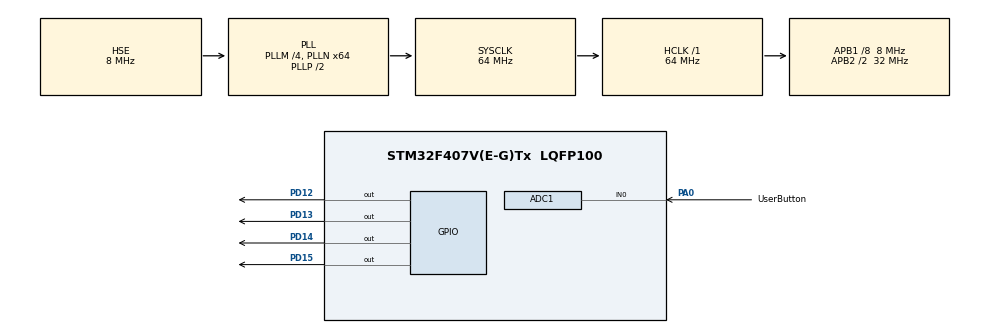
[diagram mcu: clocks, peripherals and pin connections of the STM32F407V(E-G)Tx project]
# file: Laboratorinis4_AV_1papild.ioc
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ADC1.Channel-0\#ChannelRegularConversion=ADC_CHANNEL_0
ADC1.ContinuousConvMode=DISABLE
ADC1.NbrOfConversionFlag=1
ADC1.Rank-0\#ChannelRegularConversion=1
ADC1.SamplingTime-0\#ChannelRegularConversion=ADC_SAMPLETIME_3CYCLES
ADC1.master=1
Mcu.Family=STM32F4
Mcu.Name=STM32F407V(E-G)Tx
Mcu.Package=LQFP100
NVIC.ADC_IRQn=true\:0\:0\:false\:true\:true\:1\:true\:true\:true
NVIC.PriorityGroup=NVIC_PRIORITYGROUP_0
PA0-WKUP.GPIO_Label=UserButton
PA0-WKUP.Signal=ADCx_IN0
PD12.GPIO_ModeDefaultOutputPP=GPIO_MODE_OUTPUT_PP
PD12.GPIO_PuPd=GPIO_NOPULL
PD12.Signal=GPIO_Output
PD13.GPIO_ModeDefaultOutputPP=GPIO_MODE_OUTPUT_PP
PD13.GPIO_PuPd=GPIO_NOPULL
PD13.Signal=GPIO_Output
PD14.GPIO_ModeDefaultOutputPP=GPIO_MODE_OUTPUT_PP
PD14.GPIO_PuPd=GPIO_NOPULL
PD14.Signal=GPIO_Output
PD15.GPIO_ModeDefaultOutputPP=GPIO_MODE_OUTPUT_PP
PD15.GPIO_PuPd=GPIO_NOPULL
PD15.Signal=GPIO_Output
PH0-OSC_IN.Mode=HSE-External-Oscillator
PH0-OSC_IN.Signal=RCC_OSC_IN
PH1-OSC_OUT.Mode=HSE-External-Oscillator
PH1-OSC_OUT.Signal=RCC_OSC_OUT
ProjectManager.HeapSize=0x200
ProjectManager.StackSize=0x400
ProjectManager.TargetToolchain=STM32CubeIDE
RCC.48MHZClocksFreq_Value=18285714.285714287
RCC.AHBFreq_Value=64000000
RCC.APB1CLKDivider=RCC_HCLK_DIV8
RCC.APB1Freq_Value=8000000
RCC.APB1TimFreq_Value=16000000
RCC.APB2CLKDivider=RCC_HCLK_DIV2
RCC.APB2Freq_Value=32000000
RCC.APB2TimFreq_Value=64000000
RCC.CortexFreq_Value=64000000
RCC.HCLKFreq_Value=64000000
RCC.HSE_VALUE=8000000
RCC.HSI_VALUE=16000000
RCC.LSE_VALUE=32768
RCC.PLLM=4
RCC.PLLN=64
RCC.PLLQ=7
RCC.PLLSourceVirtual=RCC_PLLSOURCE_HSE
RCC.SYSCLKFreq_VALUE=64000000
RCC.SYSCLKSource=RCC_SYSCLKSOURCE_PLLCLK
RCC.VCOOutputFreq_Value=128000000
SH.ADCx_IN0.0=ADC1_IN0,IN0
board=STM32F407G-DISC1

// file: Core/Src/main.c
/* USER CODE BEGIN Header */
/**
  ******************************************************************************
  * @file           : main.c
  * @brief          : Main program body
  ******************************************************************************
  * @attention
  *
  * Copyright (c) 2023 STMicroelectronics.
  * All rights reserved.
  *
  * This software is licensed under terms that can be found in the LICENSE file
  * in the root directory of this software component.
  * If no LICENSE file comes with this software, it is provided AS-IS.
  *
  ******************************************************************************
  */
/* USER CODE END Header */
#include "main.h"

ADC_HandleTypeDef hadc1;

void SystemClock_Config(void);
static void MX_GPIO_Init(void);
static void MX_ADC1_Init(void);
static void MX_NVIC_Init(void);

/* USER CODE BEGIN 0 */
uint32_t value;
/* USER CODE END 0 */

int main(void)
{

  /* MCU Configuration--------------------------------------------------------*/

  /* Reset of all peripherals, Initializes the Flash interface and the Systick. */
  HAL_Init();

  /* Configure the system clock */
  SystemClock_Config();

  /* Initialize all configured peripherals */
  MX_GPIO_Init();
  MX_ADC1_Init();

  /* Initialize interrupts */
  MX_NVIC_Init();

  /* Infinite loop */
  /* USER CODE BEGIN WHILE */
  while (1)
  {
	  HAL_ADC_Start(&hadc1);

	  HAL_ADC_PollForConversion(&hadc1, 1000);
	  value = HAL_ADC_GetValue(&hadc1);

	  if(value < 1000)
	  				  {
	  					  HAL_GPIO_WritePin(GPIOD, GPIO_PIN_12, SET);
	  					  HAL_GPIO_WritePin(GPIOD, GPIO_PIN_13, RESET);
	  					  HAL_GPIO_WritePin(GPIOD, GPIO_PIN_14, RESET);
	  				  }
	  				  else if((value > 1000)&(value < 4094))
	  				  {
	  					  HAL_GPIO_WritePin(GPIOD, GPIO_PIN_12, SET);
	  					  HAL_GPIO_WritePin(GPIOD, GPIO_PIN_13, SET);
	  					  HAL_GPIO_WritePin(GPIOD, GPIO_PIN_14, RESET);
	  				  }
	  				  else if (value >= 4094)
	  				  {
	  					  HAL_GPIO_WritePin(GPIOD, GPIO_PIN_12, SET);
	  					  HAL_GPIO_WritePin(GPIOD, GPIO_PIN_13, SET);
	  					  HAL_GPIO_WritePin(GPIOD, GPIO_PIN_14, SET);
	  				  }

      //HAL_Delay (100);
    /* USER CODE END WHILE */

  }
}

void SystemClock_Config(void)
{
  RCC_OscInitTypeDef RCC_OscInitStruct = {0};
  RCC_ClkInitTypeDef RCC_ClkInitStruct = {0};

  /** Configure the main internal regulator output voltage
  */
  __HAL_RCC_PWR_CLK_ENABLE();
  __HAL_PWR_VOLTAGESCALING_CONFIG(PWR_REGULATOR_VOLTAGE_SCALE1);

  /** Initializes the RCC Oscillators according to the specified parameters
  * in the RCC_OscInitTypeDef structure.
  */
  RCC_OscInitStruct.OscillatorType = RCC_OSCILLATORTYPE_HSE;
  RCC_OscInitStruct.HSEState = RCC_HSE_ON;
  RCC_OscInitStruct.PLL.PLLState = RCC_PLL_ON;
  RCC_OscInitStruct.PLL.PLLSource = RCC_PLLSOURCE_HSE;
  RCC_OscInitStruct.PLL.PLLM = 4;
  RCC_OscInitStruct.PLL.PLLN = 64;
  RCC_OscInitStruct.PLL.PLLP = RCC_PLLP_DIV2;
  RCC_OscInitStruct.PLL.PLLQ = 7;
  if (HAL_RCC_OscConfig(&RCC_OscInitStruct) != HAL_OK)
  {
    Error_Handler();
  }

  /** Initializes the CPU, AHB and APB buses clocks
  */
  RCC_ClkInitStruct.ClockType = RCC_CLOCKTYPE_HCLK|RCC_CLOCKTYPE_SYSCLK
                              |RCC_CLOCKTYPE_PCLK1|RCC_CLOCKTYPE_PCLK2;
  RCC_ClkInitStruct.SYSCLKSource = RCC_SYSCLKSOURCE_PLLCLK;
  RCC_ClkInitStruct.AHBCLKDivider = RCC_SYSCLK_DIV1;
  RCC_ClkInitStruct.APB1CLKDivider = RCC_HCLK_DIV8;
  RCC_ClkInitStruct.APB2CLKDivider = RCC_HCLK_DIV2;

  if (HAL_RCC_ClockConfig(&RCC_ClkInitStruct, FLASH_LATENCY_2) != HAL_OK)
  {
    Error_Handler();
  }
}

/**
  * @brief NVIC Configuration.
  * @retval None
  */
static void MX_NVIC_Init(void)
{
  /* ADC_IRQn interrupt configuration */
  HAL_NVIC_SetPriority(ADC_IRQn, 0, 0);
  HAL_NVIC_EnableIRQ(ADC_IRQn);
}

static void MX_ADC1_Init(void)
{

  ADC_ChannelConfTypeDef sConfig = {0};

  /** Configure the global features of the ADC (Clock, Resolution, Data Alignment and number of conversion)
  */
  hadc1.Instance = ADC1;
  hadc1.Init.ClockPrescaler = ADC_CLOCK_SYNC_PCLK_DIV2;
  hadc1.Init.Resolution = ADC_RESOLUTION_12B;
  hadc1.Init.ScanConvMode = DISABLE;
  hadc1.Init.ContinuousConvMode = DISABLE;
  hadc1.Init.DiscontinuousConvMode = DISABLE;
  hadc1.Init.ExternalTrigConvEdge = ADC_EXTERNALTRIGCONVEDGE_NONE;
  hadc1.Init.ExternalTrigConv = ADC_SOFTWARE_START;
  hadc1.Init.DataAlign = ADC_DATAALIGN_RIGHT;
  hadc1.Init.NbrOfConversion = 1;
  hadc1.Init.DMAContinuousRequests = DISABLE;
  hadc1.Init.EOCSelection = ADC_EOC_SINGLE_CONV;
  if (HAL_ADC_Init(&hadc1) != HAL_OK)
  {
    Error_Handler();
  }

  /** Configure for the selected ADC regular channel its corresponding rank in the sequencer and its sample time.
  */
  sConfig.Channel = ADC_CHANNEL_0;
  sConfig.Rank = 1;
  sConfig.SamplingTime = ADC_SAMPLETIME_3CYCLES;
  if (HAL_ADC_ConfigChannel(&hadc1, &sConfig) != HAL_OK)
  {
    Error_Handler();
  }

}

static void MX_GPIO_Init(void)
{
  GPIO_InitTypeDef GPIO_InitStruct = {0};

  /* GPIO Ports Clock Enable */
  __HAL_RCC_GPIOH_CLK_ENABLE();
  __HAL_RCC_GPIOA_CLK_ENABLE();
  __HAL_RCC_GPIOD_CLK_ENABLE();

  /*Configure GPIO pin Output Level */
  HAL_GPIO_WritePin(GPIOD, GPIO_PIN_12|GPIO_PIN_13|GPIO_PIN_14|GPIO_PIN_15, GPIO_PIN_RESET);

  /*Configure GPIO pins : PD12 PD13 PD14 PD15 */
  GPIO_InitStruct.Pin = GPIO_PIN_12|GPIO_PIN_13|GPIO_PIN_14|GPIO_PIN_15;
  GPIO_InitStruct.Mode = GPIO_MODE_OUTPUT_PP;
  GPIO_InitStruct.Pull = GPIO_NOPULL;
  GPIO_InitStruct.Speed = GPIO_SPEED_FREQ_LOW;
  HAL_GPIO_Init(GPIOD, &GPIO_InitStruct);

}

void Error_Handler(void)
{
  __disable_irq();
  while (1)
  {
  }
}
